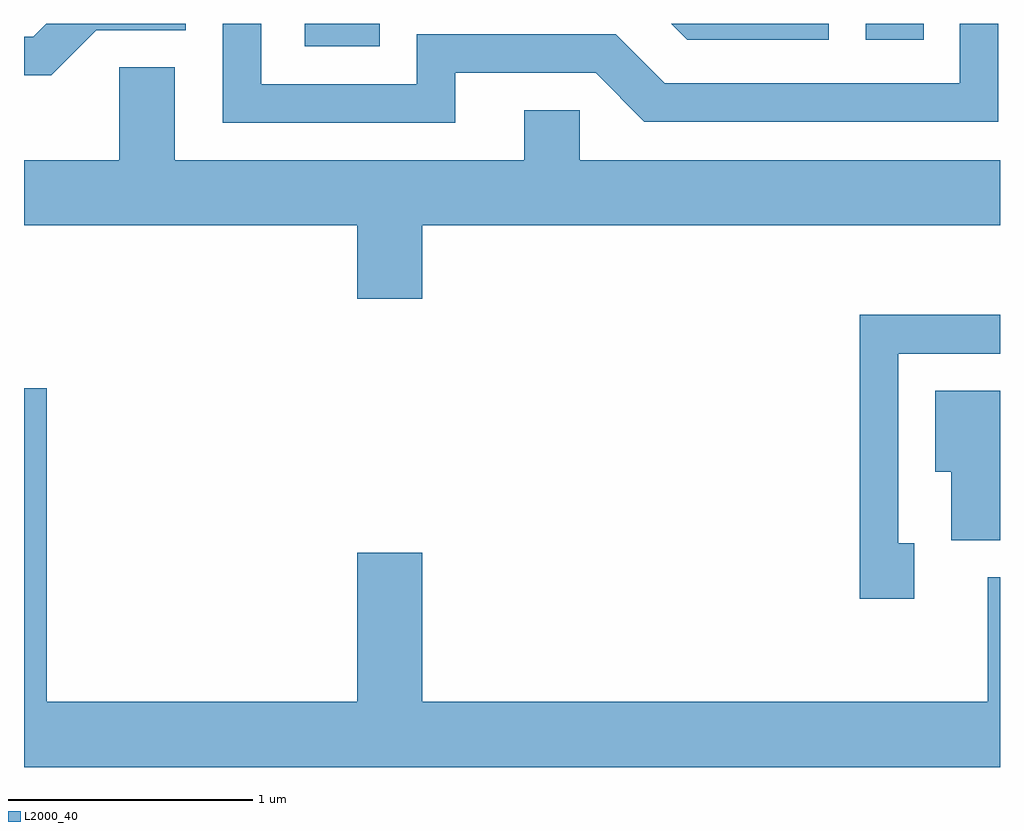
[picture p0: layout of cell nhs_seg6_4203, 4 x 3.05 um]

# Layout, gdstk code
import gdstk
lib = gdstk.Library(unit=1e-6, precision=1e-09)
def R(c, l, rs):  # rectangles x0, y0, x1, y1
    for r in rs: c.add(gdstk.rectangle(r[:2], r[2:], *l))
def P(c, l, *ps):  # polygons
    for p in ps: c.add(gdstk.Polygon(p, *l))
L2000_40 = (2000, 40)

nhs_seg6_4203 = lib.new_cell('nhs_seg6_4203')
R(nhs_seg6_4203, L2000_40, [(314.761,1584.071,315.069,1584.162), (317.061,1584.096,317.298,1584.162)])
P(nhs_seg6_4203, L2000_40, [(313.907,1584.136),(314.274,1584.136),(314.274,1584.162),(313.702,1584.162),(313.649,1584.109),(313.611,1584.109),(313.611,1583.951),(313.722,1583.951)],
  [(316.909,1584.162),(316.263,1584.162),(316.329,1584.096),(316.909,1584.096)],
  [(315.379,1583.961),(315.954,1583.961),(316.154,1583.761),(317.604,1583.761),(317.604,1584.162),(317.446,1584.162),(317.446,1583.919),(316.237,1583.919),(316.037,1584.119),(315.221,1584.119),(315.221,1583.914),(314.584,1583.914),(314.584,1584.162),(314.426,1584.162),(314.426,1583.756),(315.379,1583.756)],
  [(315.244,1583.336),(317.611,1583.336),(317.611,1583.604),(315.889,1583.604),(315.889,1583.809),(315.661,1583.809),(315.661,1583.604),(314.229,1583.604),(314.229,1583.984),(314.001,1583.984),(314.001,1583.604),(313.611,1583.604),(313.611,1583.336),(314.976,1583.336),(314.976,1583.036),(315.244,1583.036)],
  [(317.259,1582.034),(317.194,1582.034),(317.194,1582.811),(317.611,1582.811),(317.611,1582.969),(317.036,1582.969),(317.036,1581.806),(317.259,1581.806)],
  [(317.611,1581.894),(317.561,1581.894),(317.561,1581.384),(315.244,1581.384),(315.244,1581.994),(314.976,1581.994),(314.976,1581.384),(313.704,1581.384),(313.704,1582.669),(313.611,1582.669),(313.611,1581.116),(317.611,1581.116)],
  [(317.611,1582.659),(317.346,1582.659),(317.346,1582.326),(317.411,1582.326),(317.411,1582.046),(317.611,1582.046)])

lib.write_gds('nhs_seg6_4203.gds')
